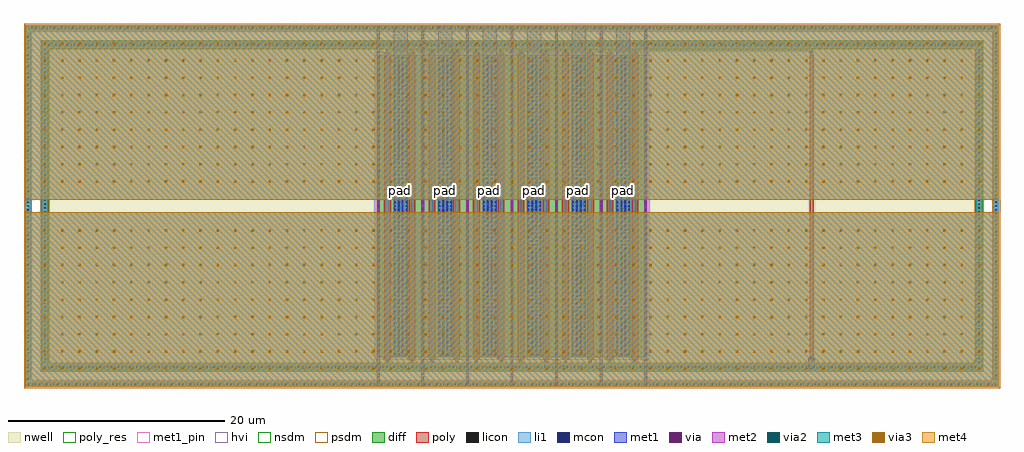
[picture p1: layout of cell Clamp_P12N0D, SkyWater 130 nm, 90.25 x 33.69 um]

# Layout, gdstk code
import gdstk
lib = gdstk.Library(unit=1e-6, precision=1e-09)
def R(c, l, rs):  # rectangles x0, y0, x1, y1
    for r in rs: c.add(gdstk.rectangle(r[:2], r[2:], *l))
def A(c, l, x, y, w, h, nx, ny, dx, dy):  # array of equal rectangles
    R(c, l, [(x+i*dx, y+j*dy, x+i*dx+w, y+j*dy+h) for i in range(nx) for j in range(ny)])
def P(c, l, *ps):  # polygons
    for p in ps: c.add(gdstk.Polygon(p, *l))
nwell = (64, 20)
diff = (65, 20)
poly_res = (66, 13)
poly = (66, 20)
licon = (66, 44)
li1 = (67, 20)
mcon = (67, 44)
met1_pin = (68, 16)
met1 = (68, 20)
via = (68, 44)
met2 = (69, 20)
via2 = (69, 44)
met3 = (70, 20)
via3 = (70, 44)
met4 = (71, 20)
hvi = (75, 20)
nsdm = (93, 44)
psdm = (94, 20)

guardring_p18000w6688hff = lib.new_cell('GuardRing_P18000W6688HFF')
P(guardring_p18000w6688hff, diff, [(-45,-16.72),(-45,16.24),(-44.52,16.24),(-44.52,-16.24),(44.52,-16.24),(44.52,16.24),(-45,16.24),(-45,16.72),(45,16.72),(45,-16.72)])
A(guardring_p18000w6688hff, licon, -44.795, -16.565, 0.17, 0.17, 264, 2, 0.34, 32.96)
A(guardring_p18000w6688hff, licon, -44.845, -16.065, 0.17, 0.17, 1, 95, 0, 0.34)
A(guardring_p18000w6688hff, licon, 44.675, -16.065, 0.17, 0.17, 1, 95, 0, 0.34)
P(guardring_p18000w6688hff, li1, [(-45,-16.72),(-45,16.24),(-44.52,16.24),(-44.52,-16.24),(44.52,-16.24),(44.52,16.24),(-45,16.24),(-45,16.72),(45,16.72),(45,-16.72)])
P(guardring_p18000w6688hff, psdm, [(-45.125,-16.845),(-45.125,16.115),(-44.395,16.115),(-44.395,-16.115),(44.395,-16.115),(44.395,16.115),(-45.125,16.115),(-45.125,16.845),(45.125,16.845),(45.125,-16.845)])

guardring_n17368w6056htt = lib.new_cell('GuardRing_N17368W6056HTT')
R(guardring_n17368w6056htt, nwell, [(-43.6,-15.32,43.6,15.32)])
P(guardring_n17368w6056htt, diff, [(-43.42,-15.14),(-43.42,14.66),(-42.94,14.66),(-42.94,-14.66),(42.94,-14.66),(42.94,14.66),(-43.42,14.66),(-43.42,15.14),(43.42,15.14),(43.42,-15.14)])
A(guardring_n17368w6056htt, licon, -43.265, -14.985, 0.17, 0.17, 255, 2, 0.34, 29.8)
A(guardring_n17368w6056htt, licon, -43.265, -14.535, 0.17, 0.17, 1, 86, 0, 0.34)
A(guardring_n17368w6056htt, licon, 43.095, -14.535, 0.17, 0.17, 1, 86, 0, 0.34)
P(guardring_n17368w6056htt, li1, [(-43.42,-15.14),(-43.42,14.66),(-42.94,14.66),(-42.94,-14.66),(42.94,-14.66),(42.94,14.66),(-43.42,14.66),(-43.42,15.14),(43.42,15.14),(43.42,-15.14)])
P(guardring_n17368w6056htt, nsdm, [(-43.545,-15.265),(-43.545,14.535),(-42.815,14.535),(-42.815,-14.535),(42.815,-14.535),(42.815,14.535),(-43.545,14.535),(-43.545,15.265),(43.545,15.265),(43.545,-15.265)])
R(guardring_n17368w6056htt, psdm, [(-42.815,-14.535,42.815,14.535)])

iotracksegment_6688h = lib.new_cell('IOTrackSegment_6688H')
R(iotracksegment_6688h, met2, [(-45,-16.72,45,-0.6), (-45,0.6,45,16.72)])
A(iotracksegment_6688h, via2, -43.3, -15.16, 0.2, 0.2, 55, 9, 1.6, 1.6)
A(iotracksegment_6688h, via2, -43.3, 2.16, 0.2, 0.2, 55, 9, 1.6, 1.6)
R(iotracksegment_6688h, met3, [(-45,-16.72,45,-0.6), (-45,0.6,45,16.72)])
A(iotracksegment_6688h, via3, -43.3, -15.16, 0.2, 0.2, 55, 9, 1.6, 1.6)
A(iotracksegment_6688h, via3, -43.3, 2.16, 0.2, 0.2, 55, 9, 1.6, 1.6)
R(iotracksegment_6688h, met4, [(-45,-16.72,45,-0.6), (-45,0.6,45,16.72)])

clamp_p12n0d = lib.new_cell('Clamp_P12N0D')
R(clamp_p12n0d, nwell, [(32.335,2.54,57.665,30.9)])
R(clamp_p12n0d, diff, [(32.515,2.72,57.485,30.72)])
R(clamp_p12n0d, poly_res, [(72.54,2.72,72.88,30.72)])
R(clamp_p12n0d, poly, [(72.545,2.425,72.875,31.015)])
P(clamp_p12n0d, poly, [(33.33,2.23),(33.33,2.56),(33.165,2.56),(33.165,30.88),(33.33,30.88),(33.33,31.21),(33.6,31.21),(33.6,30.88),(33.765,30.88),(33.765,2.56),(33.6,2.56),(33.6,2.23)],
  [(35.63,2.23),(35.63,2.56),(35.465,2.56),(35.465,30.88),(35.63,30.88),(35.63,31.21),(35.9,31.21),(35.9,30.88),(36.065,30.88),(36.065,2.56),(35.9,2.56),(35.9,2.23)],
  [(37.45,2.23),(37.45,2.56),(37.285,2.56),(37.285,30.88),(37.45,30.88),(37.45,31.21),(37.72,31.21),(37.72,30.88),(37.885,30.88),(37.885,2.56),(37.72,2.56),(37.72,2.23)],
  [(39.75,2.23),(39.75,2.56),(39.585,2.56),(39.585,30.88),(39.75,30.88),(39.75,31.21),(40.02,31.21),(40.02,30.88),(40.185,30.88),(40.185,2.56),(40.02,2.56),(40.02,2.23)],
  [(41.57,2.23),(41.57,2.56),(41.405,2.56),(41.405,30.88),(41.57,30.88),(41.57,31.21),(41.84,31.21),(41.84,30.88),(42.005,30.88),(42.005,2.56),(41.84,2.56),(41.84,2.23)],
  [(43.87,2.23),(43.87,2.56),(43.705,2.56),(43.705,30.88),(43.87,30.88),(43.87,31.21),(44.14,31.21),(44.14,30.88),(44.305,30.88),(44.305,2.56),(44.14,2.56),(44.14,2.23)],
  [(45.69,2.23),(45.69,2.56),(45.525,2.56),(45.525,30.88),(45.69,30.88),(45.69,31.21),(45.96,31.21),(45.96,30.88),(46.125,30.88),(46.125,2.56),(45.96,2.56),(45.96,2.23)],
  [(47.99,2.23),(47.99,2.56),(47.825,2.56),(47.825,30.88),(47.99,30.88),(47.99,31.21),(48.26,31.21),(48.26,30.88),(48.425,30.88),(48.425,2.56),(48.26,2.56),(48.26,2.23)],
  [(49.81,2.23),(49.81,2.56),(49.645,2.56),(49.645,30.88),(49.81,30.88),(49.81,31.21),(50.08,31.21),(50.08,30.88),(50.245,30.88),(50.245,2.56),(50.08,2.56),(50.08,2.23)],
  [(52.11,2.23),(52.11,2.56),(51.945,2.56),(51.945,30.88),(52.11,30.88),(52.11,31.21),(52.38,31.21),(52.38,30.88),(52.545,30.88),(52.545,2.56),(52.38,2.56),(52.38,2.23)],
  [(53.93,2.23),(53.93,2.56),(53.765,2.56),(53.765,30.88),(53.93,30.88),(53.93,31.21),(54.2,31.21),(54.2,30.88),(54.365,30.88),(54.365,2.56),(54.2,2.56),(54.2,2.23)],
  [(56.23,2.23),(56.23,2.56),(56.065,2.56),(56.065,30.88),(56.23,30.88),(56.23,31.21),(56.5,31.21),(56.5,30.88),(56.665,30.88),(56.665,2.56),(56.5,2.56),(56.5,2.23)])
A(clamp_p12n0d, licon, 32.555, 2.865, 0.17, 0.17, 1, 82, 0, 0.34)
A(clamp_p12n0d, licon, 34.445, 2.865, 0.17, 0.17, 1, 82, 0, 0.34)
A(clamp_p12n0d, licon, 34.785, 2.865, 0.17, 0.17, 3, 82, 1.89, 0.34)
A(clamp_p12n0d, licon, 38.905, 2.865, 0.17, 0.17, 3, 82, 1.89, 0.34)
A(clamp_p12n0d, licon, 43.025, 2.865, 0.17, 0.17, 3, 82, 1.89, 0.34)
A(clamp_p12n0d, licon, 47.145, 2.865, 0.17, 0.17, 3, 82, 1.89, 0.34)
A(clamp_p12n0d, licon, 51.265, 2.865, 0.17, 0.17, 3, 82, 1.89, 0.34)
A(clamp_p12n0d, licon, 55.385, 2.865, 0.17, 0.17, 1, 82, 0, 0.34)
A(clamp_p12n0d, licon, 57.275, 2.865, 0.17, 0.17, 1, 82, 0, 0.34)
R(clamp_p12n0d, licon, [(33.38,2.31,33.55,2.48), (35.68,2.31,35.85,2.48), (37.5,2.31,37.67,2.48), (39.8,2.31,39.97,2.48), (41.62,2.31,41.79,2.48), (43.92,2.31,44.09,2.48), (45.74,2.31,45.91,2.48), (48.04,2.31,48.21,2.48), (49.86,2.31,50.03,2.48), (52.16,2.31,52.33,2.48), (53.98,2.31,54.15,2.48), (56.28,2.31,56.45,2.48), (72.625,2.505,72.795,2.675), (72.625,30.765,72.795,30.935), (33.38,30.96,33.55,31.13), (35.68,30.96,35.85,31.13), (37.5,30.96,37.67,31.13), (39.8,30.96,39.97,31.13), (41.62,30.96,41.79,31.13), (43.92,30.96,44.09,31.13), (45.74,30.96,45.91,31.13), (48.04,30.96,48.21,31.13), (49.86,30.96,50.03,31.13), (52.16,30.96,52.33,31.13), (53.98,30.96,54.15,31.13), (56.28,30.96,56.45,31.13)])
A(clamp_p12n0d, li1, 32.555, 1.735, 0.17, 0.17, 7, 2, 4.12, 29.8)
A(clamp_p12n0d, li1, 32.555, 2.785, 0.17, 27.87, 7, 1, 4.12, 0)
R(clamp_p12n0d, li1, [(72.445,1.735,72.975,1.905)])
P(clamp_p12n0d, li1, [(72.625,2.425),(72.625,2.505),(72.445,2.505),(72.445,2.675),(72.625,2.675),(72.625,2.755),(72.795,2.755),(72.795,2.675),(72.975,2.675),(72.975,2.505),(72.795,2.505),(72.795,2.425)],
  [(34.445,2.785),(34.445,2.955),(34.075,2.955),(34.075,30.485),(34.445,30.485),(34.445,30.655),(34.955,30.655),(34.955,30.485),(35.325,30.485),(35.325,2.955),(34.955,2.955),(34.955,2.785)],
  [(38.565,2.785),(38.565,2.955),(38.195,2.955),(38.195,30.485),(38.565,30.485),(38.565,30.655),(39.075,30.655),(39.075,30.485),(39.445,30.485),(39.445,2.955),(39.075,2.955),(39.075,2.785)],
  [(42.685,2.785),(42.685,2.955),(42.315,2.955),(42.315,30.485),(42.685,30.485),(42.685,30.655),(43.195,30.655),(43.195,30.485),(43.565,30.485),(43.565,2.955),(43.195,2.955),(43.195,2.785)],
  [(46.805,2.785),(46.805,2.955),(46.435,2.955),(46.435,30.485),(46.805,30.485),(46.805,30.655),(47.315,30.655),(47.315,30.485),(47.685,30.485),(47.685,2.955),(47.315,2.955),(47.315,2.785)],
  [(50.925,2.785),(50.925,2.955),(50.555,2.955),(50.555,30.485),(50.925,30.485),(50.925,30.655),(51.435,30.655),(51.435,30.485),(51.805,30.485),(51.805,2.955),(51.435,2.955),(51.435,2.785)],
  [(55.045,2.785),(55.045,2.955),(54.675,2.955),(54.675,30.485),(55.045,30.485),(55.045,30.655),(55.555,30.655),(55.555,30.485),(55.925,30.485),(55.925,2.955),(55.555,2.955),(55.555,2.785)],
  [(33.38,2.23),(33.38,31.21),(72.795,31.21),(72.795,30.685),(72.625,30.685),(72.625,31.04),(56.45,31.04),(56.45,2.23),(56.28,2.23),(56.28,31.04),(54.15,31.04),(54.15,2.23),(53.98,2.23),(53.98,31.04),(52.33,31.04),(52.33,2.23),(52.16,2.23),(52.16,31.04),(50.03,31.04),(50.03,2.23),(49.86,2.23),(49.86,31.04),(48.21,31.04),(48.21,2.23),(48.04,2.23),(48.04,31.04),(45.91,31.04),(45.91,2.23),(45.74,2.23),(45.74,31.04),(44.09,31.04),(44.09,2.23),(43.92,2.23),(43.92,31.04),(41.79,31.04),(41.79,2.23),(41.62,2.23),(41.62,31.04),(39.97,31.04),(39.97,2.23),(39.8,2.23),(39.8,31.04),(37.67,31.04),(37.67,2.23),(37.5,2.23),(37.5,31.04),(35.85,31.04),(35.85,2.23),(35.68,2.23),(35.68,31.04),(33.55,31.04),(33.55,2.23)])
A(clamp_p12n0d, mcon, 32.555, 1.735, 0.17, 0.17, 7, 2, 4.12, 29.8)
A(clamp_p12n0d, mcon, 32.555, 2.955, 0.17, 0.17, 1, 77, 0, 0.36)
A(clamp_p12n0d, mcon, 34.075, 2.955, 0.17, 0.17, 4, 77, 0.36, 0.36)
A(clamp_p12n0d, mcon, 36.675, 2.955, 0.17, 0.17, 1, 77, 0, 0.36)
A(clamp_p12n0d, mcon, 38.195, 2.955, 0.17, 0.17, 4, 77, 0.36, 0.36)
A(clamp_p12n0d, mcon, 40.795, 2.955, 0.17, 0.17, 1, 77, 0, 0.36)
A(clamp_p12n0d, mcon, 42.315, 2.955, 0.17, 0.17, 4, 77, 0.36, 0.36)
A(clamp_p12n0d, mcon, 44.915, 2.955, 0.17, 0.17, 1, 77, 0, 0.36)
A(clamp_p12n0d, mcon, 46.435, 2.955, 0.17, 0.17, 4, 77, 0.36, 0.36)
A(clamp_p12n0d, mcon, 49.035, 2.955, 0.17, 0.17, 1, 77, 0, 0.36)
A(clamp_p12n0d, mcon, 50.555, 2.955, 0.17, 0.17, 4, 77, 0.36, 0.36)
A(clamp_p12n0d, mcon, 53.155, 2.955, 0.17, 0.17, 1, 77, 0, 0.36)
A(clamp_p12n0d, mcon, 54.675, 2.955, 0.17, 0.17, 4, 77, 0.36, 0.36)
A(clamp_p12n0d, mcon, 57.275, 2.955, 0.17, 0.17, 1, 77, 0, 0.36)
R(clamp_p12n0d, mcon, [(72.445,1.735,72.615,1.905), (72.805,1.735,72.975,1.905), (72.445,2.505,72.615,2.675), (72.805,2.505,72.975,2.675)])
A(clamp_p12n0d, met1_pin, 34.045, 2.895, 1.31, 30.545, 6, 1, 4.12, 0)
A(clamp_p12n0d, met1, 34.045, 2.895, 1.31, 30.545, 6, 1, 4.12, 0)
R(clamp_p12n0d, met1, [(72.415,1.675,73.005,2.735)])
P(clamp_p12n0d, met1, [(32.525,0),(32.525,0.08),(32.51,0.08),(32.51,33.36),(32.525,33.36),(32.525,33.44),(32.755,33.44),(32.755,33.36),(32.77,33.36),(32.77,0.08),(32.755,0.08),(32.755,0)],
  [(36.645,0),(36.645,0.08),(36.63,0.08),(36.63,33.36),(36.645,33.36),(36.645,33.44),(36.875,33.44),(36.875,33.36),(36.89,33.36),(36.89,0.08),(36.875,0.08),(36.875,0)],
  [(40.765,0),(40.765,0.08),(40.75,0.08),(40.75,33.36),(40.765,33.36),(40.765,33.44),(40.995,33.44),(40.995,33.36),(41.01,33.36),(41.01,0.08),(40.995,0.08),(40.995,0)],
  [(44.885,0),(44.885,0.08),(44.87,0.08),(44.87,33.36),(44.885,33.36),(44.885,33.44),(45.115,33.44),(45.115,33.36),(45.13,33.36),(45.13,0.08),(45.115,0.08),(45.115,0)],
  [(49.005,0),(49.005,0.08),(48.99,0.08),(48.99,33.36),(49.005,33.36),(49.005,33.44),(49.235,33.44),(49.235,33.36),(49.25,33.36),(49.25,0.08),(49.235,0.08),(49.235,0)],
  [(53.125,0),(53.125,0.08),(53.11,0.08),(53.11,33.36),(53.125,33.36),(53.125,33.44),(53.355,33.44),(53.355,33.36),(53.37,33.36),(53.37,0.08),(53.355,0.08),(53.355,0)],
  [(57.245,0),(57.245,0.08),(57.23,0.08),(57.23,33.36),(57.245,33.36),(57.245,33.44),(57.475,33.44),(57.475,33.36),(57.49,33.36),(57.49,0.08),(57.475,0.08),(57.475,0)])
A(clamp_p12n0d, via, 32.565, 0.165, 0.15, 0.15, 7, 104, 4.12, 0.32)
A(clamp_p12n0d, met2, 32.51, 0.08, 0.26, 33.28, 7, 1, 4.12, 0)
R(clamp_p12n0d, hvi, [(32.315,2.52,57.685,30.92)])
R(clamp_p12n0d, psdm, [(32.39,2.595,57.61,30.845)])
clamp_p12n0d.add(gdstk.Reference(guardring_p18000w6688hff, (45,16.72)))
clamp_p12n0d.add(gdstk.Reference(guardring_n17368w6056htt, (45,16.72)))
clamp_p12n0d.add(gdstk.Reference(iotracksegment_6688h, (45,16.72)))
clamp_p12n0d.add(gdstk.Reference(guardring_p18000w6688hff, (45,16.72)))
clamp_p12n0d.add(gdstk.Reference(guardring_n17368w6056htt, (45,16.72)))
clamp_p12n0d.add(gdstk.Reference(iotracksegment_6688h, (45,16.72)))
clamp_p12n0d.add(gdstk.Label('pad', (47.06,18.167), layer=68, texttype=16))
clamp_p12n0d.add(gdstk.Label('pad', (38.82,18.167), layer=68, texttype=16))
clamp_p12n0d.add(gdstk.Label('pad', (42.94,18.167), layer=68, texttype=16))
clamp_p12n0d.add(gdstk.Label('pad', (55.3,18.167), layer=68, texttype=16))
clamp_p12n0d.add(gdstk.Label('pad', (34.7,18.167), layer=68, texttype=16))
clamp_p12n0d.add(gdstk.Label('pad', (51.18,18.167), layer=68, texttype=16))
clamp_p12n0d.add(gdstk.Label('pad', (47.06,18.167), layer=68, texttype=16))
clamp_p12n0d.add(gdstk.Label('pad', (38.82,18.167), layer=68, texttype=16))
clamp_p12n0d.add(gdstk.Label('pad', (42.94,18.167), layer=68, texttype=16))
clamp_p12n0d.add(gdstk.Label('pad', (55.3,18.167), layer=68, texttype=16))
clamp_p12n0d.add(gdstk.Label('pad', (34.7,18.167), layer=68, texttype=16))
clamp_p12n0d.add(gdstk.Label('pad', (51.18,18.167), layer=68, texttype=16))

lib.write_gds('Clamp_P12N0D.gds')
